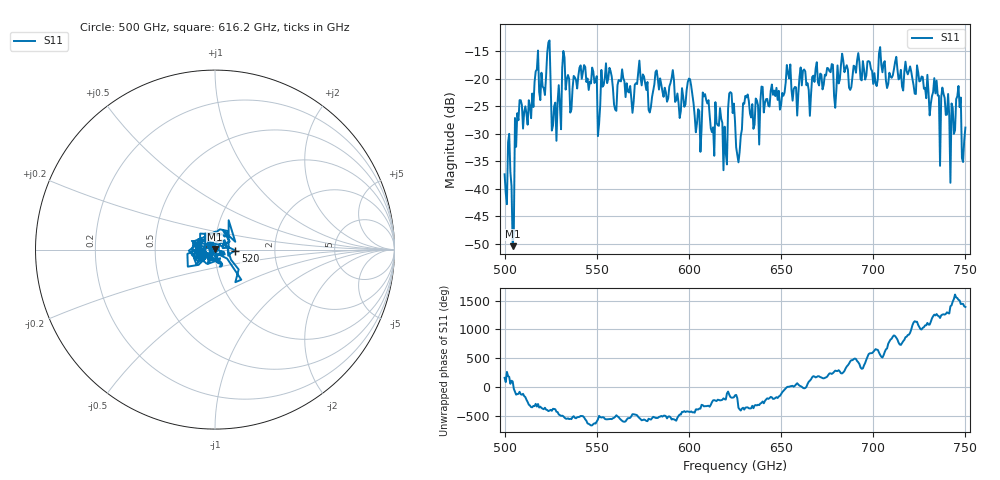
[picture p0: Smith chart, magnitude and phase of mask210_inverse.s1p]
!Created with skrf (http://scikit-rf.org).
# GHz S MA R 50.0
!freq magS11 angS11
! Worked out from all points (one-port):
!   401 points, 500 GHz to 750 GHz, reference 50 ohm
!   lowest |S11| = -50.4 dB at 504.4 GHz (marker M1), VSWR 1.01, Z = 50 + j0.299 ohm
!   |S11| at or under -10 dB: start of sweep to end of sweep
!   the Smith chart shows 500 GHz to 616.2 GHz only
!   S11 on the Smith chart (normalised r, x): 500 GHz: 0.97, +0.01; 520 GHz: 1.26, -0.01; 616.2 GHz: 0.95, +0.05
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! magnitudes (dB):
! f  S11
! 500 GHz  -37.4
! 504.4 GHz  -50.4
! 508.1 GHz  -23.9
! 520 GHz  -18.9
! 523.8 GHz  -13.4
! 526.9 GHz  -25.0
! 531.2 GHz  -18.1
! 548.8 GHz  -20.8
! 550.6 GHz  -30.4
! 562.5 GHz  -20.3
! 590.6 GHz  -19.9
! 593.8 GHz  -22.7
! 600 GHz  -20.0
! 605 GHz  -25.5
! 608.8 GHz  -22.8
! 612.5 GHz  -29.7
! 616.2 GHz  -28.6
! 619.4 GHz  -28.7
! 623.1 GHz  -22.6
! 625 GHz  -27.7
! 626.9 GHz  -35.2
! 630.6 GHz  -23.1
! 656.2 GHz  -24.0
! 687.5 GHz  -22.0
! 718.8 GHz  -19.2
! 743.1 GHz  -25.3
! 746.2 GHz  -21.3
! 750 GHz  -28.9
